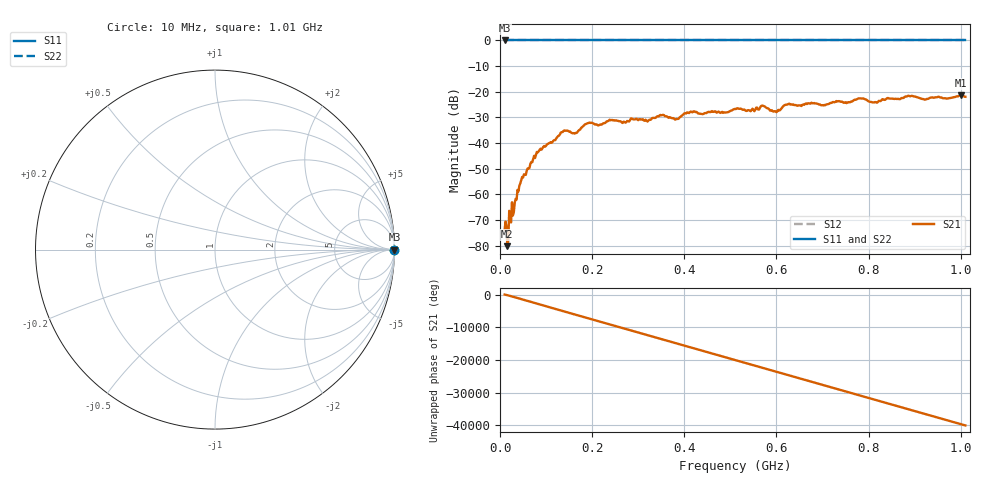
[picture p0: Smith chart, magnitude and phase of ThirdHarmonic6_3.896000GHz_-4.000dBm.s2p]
! 8/17/2025 1:41:33 PM
! C:\ANRITSUVNA\TEMP\TEMP.S2P
! CHANNEL.1
! TR.MEASUREMENT
! RAW.DATA
! RF.CORRECTION.OFF
! AVERAGING.OFF
! IF.BANDWIDTH: 5KHZ
! SWEEPTYPE:  FREQ.SWEEP(Linear)
! Reference Plane Port Info
! PORT:  PORT1  PORT2
! DISTANCE:  0  m  0  m
! TIME:  0  s  0  s
! PHASE.OFFSET:  0  deg.  0  deg.
! LOSS:  0  dB  0  dB
! REF.LOSS:  0  dB  0  dB
! REF.FREQ:  0  Hz  0  Hz
! Power Info
! POWER:  -20  dBm  -20  dBm
! EFF.POWER:  -20  dBm  -20  dBm
! SOURCE.ATTEN:  0  dB  0  dB
! TEST.ATTEN:  0  dB  0  dB
# GHZ S RI R 50.0
! FREQ.GHZ  S11RE  S11IM  S21RE  S21IM  S12RE  S12IM  S22RE  S22IM
!; PortSelection: Port_12
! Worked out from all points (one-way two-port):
!   501 points, 10 MHz to 1.01 GHz, reference 50 ohm
!   highest |S21| = -21.34 dB at 1 GHz (marker M1); lowest = -80.2 dB at 16 MHz (marker M2)
!   lowest |S11| = 0.0 dB at 10 MHz (marker M3)
!   |S11| at or under -10 dB: nowhere
!   |S22| runs from 0.0 to 0.0 dB; largest |S21 - S12| = 1.1
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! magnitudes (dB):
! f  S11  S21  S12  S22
! 10 MHz  0.0  -74.0  0.0  0.0
! 14 MHz  0.0  -72.6  0.0  0.0
! 16 MHz  0.0  -80.2  0.0  0.0
! 20 MHz  0.0  -66.4  0.0  0.0
! 24 MHz  0.0  -71.0  0.0  0.0
! 32 MHz  0.0  -63.2  0.0  0.0
! 46 MHz  0.0  -54.5  0.0  0.0
! 84 MHz  0.0  -43.2  0.0  0.0
! 136 MHz  0.0  -35.7  0.0  0.0
! 162 MHz  0.0  -36.3  0.0  0.0
! 178 MHz  0.0  -33.9  0.0  0.0
! 344 MHz  0.0  -29.6  0.0  0.0
! 384 MHz  0.0  -30.6  0.0  0.0
! 418 MHz  0.0  -28.0  0.0  0.0
! 510 MHz  0.0  -26.7  0.0  0.0
! 570 MHz  0.0  -25.4  0.0  0.0
! 598 MHz  0.0  -27.7  0.0  0.0
! 624 MHz  0.0  -25.0  0.0  0.0
! 678 MHz  0.0  -24.5  0.0  0.0
! 844 MHz  0.0  -22.6  0.0  0.0
! 1 GHz  0.0  -21.3  0.0  0.0
! 1.01 GHz  0.0  -22.0  0.0  0.0
